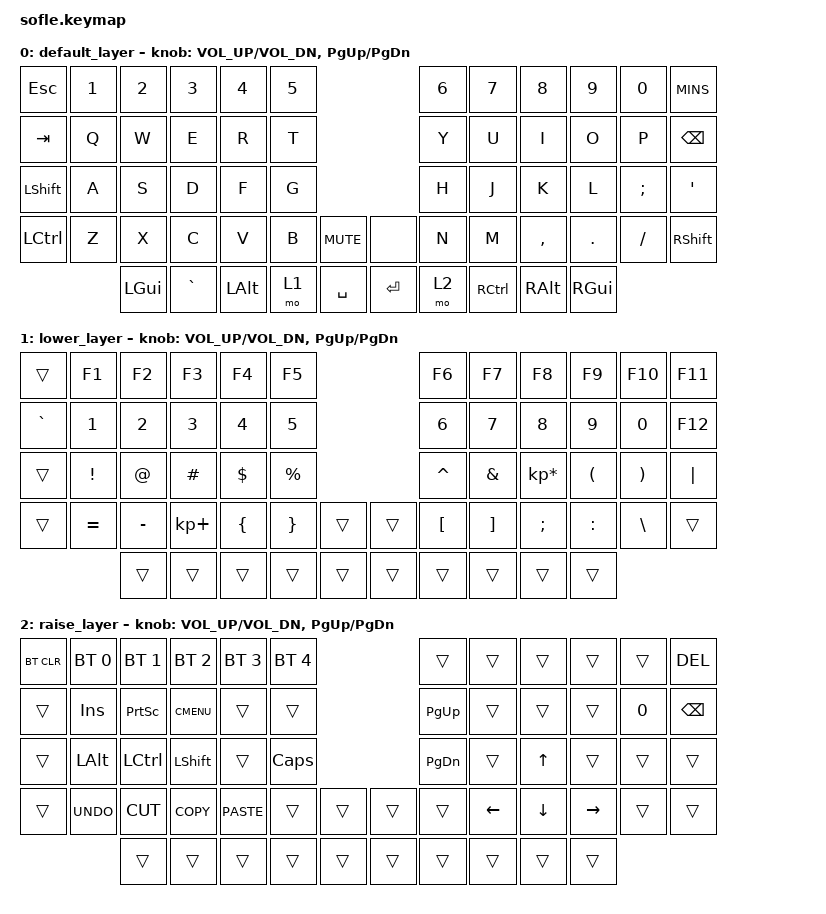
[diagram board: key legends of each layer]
/*
 * Copyright (c) 2020 The ZMK Contributors
 *
 * SPDX-License-Identifier: MIT
 */

#include <behaviors.dtsi>
#include <dt-bindings/zmk/keys.h>
#include <dt-bindings/zmk/bt.h>
//rotary
{
    behaviors {
        rot_kp: behavior_sensor_rotate_kp {
            compatible = "zmk,behavior-sensor-rotate-var";
            label = "ENC_KP";
            #sensor-binding-cells = <2>;
            bindings = <&kp>, <&kp>;
        };
    };
    
/ {
    keymap {
        compatible = "zmk,keymap";

        default_layer {
// ------------------------------------------------------------------------------------------------------------
// |  ESC |  1  |  2  |  3   |  4   |  5   |                   |  6   |  7    |  8    |  9   |   0   |    -   |
// |  TAB |  Q  |  W  |  E   |  R   |  T   |                   |  Y   |  U    |  I    |  O   |   P   | BKSPC |
// | SHIFT|  A  |  S  |  D   |  F   |  G   |                   |  H   |  J    |  K    |  L   |   ;   |   '   |
// | CTRL |  Z  |  X  |  C   |  V   |  B   |  MUTE  |  |       |  N   |  M    |  ,    |  .   |   /   | SHIFT |
//               | GUI |  `  | ALT | LOWER|  SPACE |  | ENTER | RAISE| CTRL  | ALT   | GUI  |

            bindings = <
&kp ESC &kp N1 &kp N2   &kp N3   &kp N4    &kp N5                      &kp N6 &kp N7    &kp N8    &kp N9   &kp N0   &kp MINS
&kp TAB   &kp Q  &kp W    &kp E    &kp R     &kp T                       &kp Y  &kp U     &kp I     &kp O    &kp P    &kp BSPC
&kp LSHFT   &kp A  &kp S    &kp D    &kp F     &kp G                       &kp H  &kp J     &kp K     &kp L    &kp SEMI &kp SQT
&kp LCTL &kp Z  &kp X    &kp C    &kp V     &kp B  &kp C_MUTE &none     &kp N  &kp M     &kp COMMA &kp DOT  &kp SLASH &kp RSHFT
                 &kp LGUI &kp GRAVE &kp LALT &mo 1  &kp SPACE    &kp RET &mo 2  &kp RCTRL &kp RALT  &kp RGUI
            >;

            sensor-bindings = <&inc_dec_kp C_VOL_UP C_VOL_DN &inc_dec_kp PG_UP PG_DN>;
        };

        lower_layer {
// TODO: Some binds are waiting for shifted keycode support.
// ------------------------------------------------------------------------------------------------------------
// |       |  F1 |  F2 |  F3  |  F4  |  F5  |                   |  F6  |  F7   |  F8   |  F9  |  F10  |  F11  |
// | `     |   1 |   2 |   3  |   4  |   5  |                   |   6  |   7   |   8   |   9  |    0  |  F12  |
// |       |  !  |  @  |  #   |  $   |  %   |                   |  ^   |  &    |  *    |  (   |   )   |   |   |
// |       |  =  |  -  |  +   |  {   |  }   |        |  |       |  [   |  ]    |  ;    |  :   |   \   |       |
//               |     |      |      |      |        |  |       |      |       |       |      |
            bindings = <
&trans    &kp F1    &kp F2    &kp F3      &kp F4    &kp F5                    &kp F6    &kp F7   &kp F8          &kp F9    &kp F10   &kp F11
&kp GRAVE &kp N1    &kp N2    &kp N3      &kp N4    &kp N5                    &kp N6    &kp N7   &kp N8          &kp N9    &kp N0    &kp F12
&trans    &kp EXCL  &kp AT    &kp HASH    &kp DLLR  &kp PRCNT                 &kp CARET &kp AMPS &kp KP_MULTIPLY &kp LPAR  &kp RPAR  &kp PIPE
&trans    &kp EQUAL &kp MINUS &kp KP_PLUS &kp LBRC  &kp RBRC  &trans   &trans &kp LBKT  &kp RBKT &kp SEMI        &kp COLON &kp BSLH  &trans
                    &trans    &trans      &trans    &trans    &trans   &trans &trans    &trans   &trans          &trans
            >;

            sensor-bindings = <&inc_dec_kp C_VOL_UP C_VOL_DN &inc_dec_kp PG_UP PG_DN>;
        };

        raise_layer {
// ------------------------------------------------------------------------------------------------------------
// |BTCLR| BT1  | BT2  |  BT3  |  BT4  |  BT5 |                |      |      |       |      |       |  DEL  |
// |     | INS  | PSCR | GUI   |       |      |                | PGUP |      |       |      |       | BKSPC |
// |     | ALT  | CTRL | SHIFT |       | CAPS |                | PGDN |      |   ^   |      |  DEL  |       |
// |     | UNDO | CUT  | COPY  | PASTE |      |      |  |      |      |  <-  |   v   |  ->  |       |       |
//              |      |       |       |      |      |  |      |      |      |       |      |
            bindings = <
&bt BT_CLR &bt BT_SEL 0 &bt BT_SEL 1 &bt BT_SEL 2 &bt BT_SEL 3 &bt BT_SEL 4             &trans    &trans    &trans   &trans    &trans  &DEL
&trans     &kp INS      &kp PSCRN    &kp K_CMENU  &trans       &trans                   &kp PG_UP &trans    &trans   &trans    &kp N0  &kp BSPC
&trans     &kp LALT     &kp LCTRL    &kp LSHFT    &trans       &kp CLCK                 &kp PG_DN &trans    &kp UP  &trans    &trans  &trans
&trans     &kp K_UNDO   &kp K_CUT    &kp K_COPY   &kp K_PASTE  &trans  &trans   &trans  &trans    &kp LEFT  &kp DOWN &kp RIGHT    &trans  &trans
                        &trans       &trans       &trans       &trans  &trans   &trans  &trans    &trans    &trans   &trans
            >;

            sensor-bindings = <&inc_dec_kp C_VOL_UP C_VOL_DN &inc_dec_kp PG_UP PG_DN>;
        };
    };
};
